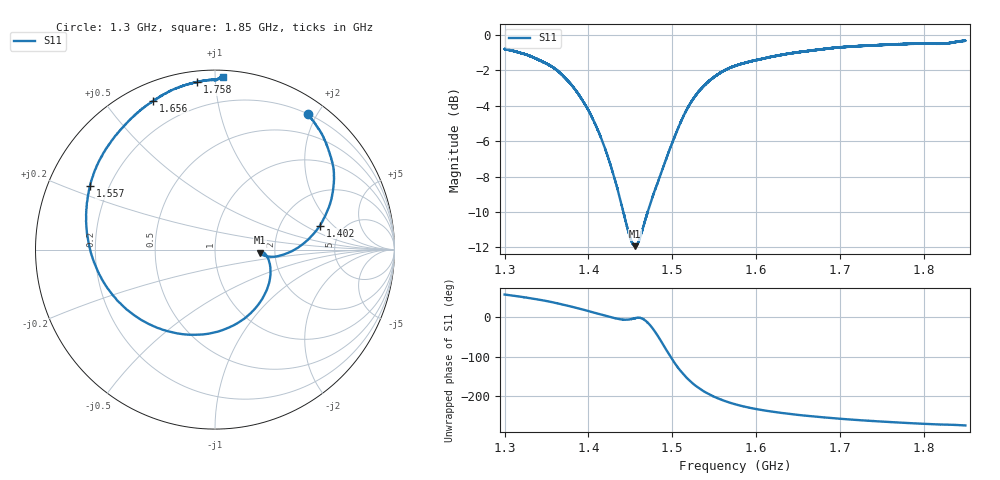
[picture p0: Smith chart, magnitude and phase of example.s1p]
!Keysight Technologies,P9371A,MY57212015,Z.14.24.19
!Date: Monday, February 21, 2022 10:51:46
!Correction: S11(C  1-Port  )
!S1P File: Measurement: S11:
# Hz S  dB  R 50
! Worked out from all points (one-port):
!   55001 points, 1.3 GHz to 1.85 GHz, reference 50 ohm
!   lowest |S11| = -11.9 dB at 1.456 GHz (marker M1), VSWR 1.68, Z = 83.7 - j2.91 ohm
!   |S11| at or under -10 dB: 1.442 GHz to 1.471 GHz (29.02 MHz wide, 1.99 % of centre); 1.470713 GHz to 1.470746 GHz (33.34 kHz wide, 0.00227 % of centre); 1.470766 GHz to 1.470786 GHz (19.73 kHz wide, 0.00134 % of centre)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
!   S11 on the Smith chart (normalised r, x): 1.3 GHz: 0.21, +1.88; 1.402 GHz: 3.36, +1.41; 1.557 GHz: 0.13, +0.24; 1.656 GHz: 0.08, +0.67; 1.758 GHz: 0.06, +0.90; 1.85 GHz: 0.04, +1.05
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1.3e9  -0.79 55.5
1.33533e9  -1.29 44.7
1.36875e9  -2.26 30.7
1.38536e9  -3.16 22.3
1.40209e9  -4.44 12.9
1.42153e9  -6.64 1.7
1.4375e9  -9.20 -6.1
1.44939e9  -11.36 -6.8
1.45597e9  -11.93 -3.7
1.46827e9  -10.38 -10.1
1.47579e9  -9.26 -26.9
1.48207e9  -8.42 -45.6
1.48809e9  -7.63 -66.0
1.49493e9  -6.72 -89.9
1.50038e9  -6.06 -108.0
1.50625e9  -5.36 -125.7
1.51693e9  -4.27 -152.3
1.52773e9  -3.44 -172.7
1.54053e9  -2.74 169.6
1.55745e9  -2.14 153.0
1.575e9  -1.75 140.6
1.6031e9  -1.39 127.4
1.64375e9  -1.02 115.3
1.65607e9  -0.94 112.5
1.7125e9  -0.66 102.3
1.75836e9  -0.54 96.0
1.78125e9  -0.50 93.4
1.85e9  -0.33 87.4
